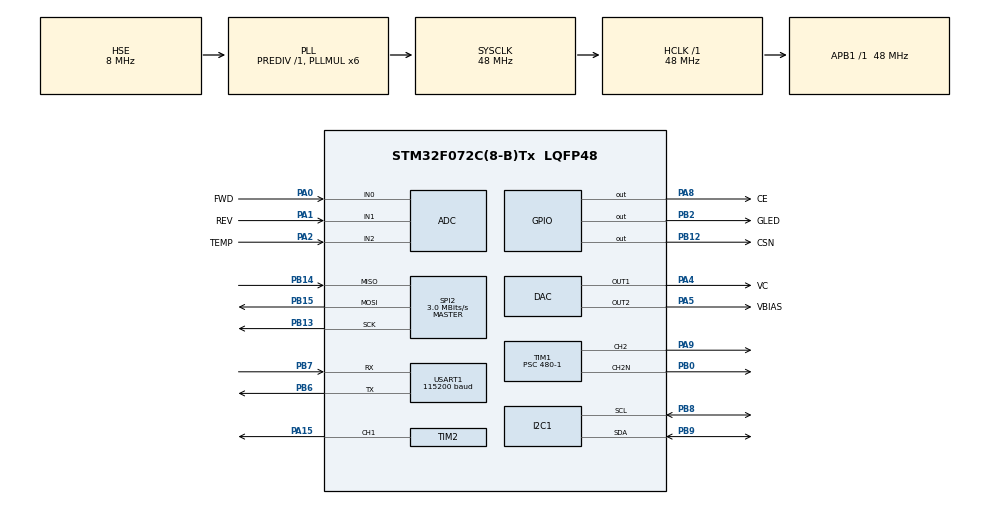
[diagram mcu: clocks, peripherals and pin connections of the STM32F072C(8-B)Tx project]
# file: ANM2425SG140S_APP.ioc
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ADC.ContinuousConvMode=ENABLE
ADC.DMAContinuousRequests=ENABLE
ADC.SamplingTime=ADC_SAMPLETIME_239CYCLES_5
Dma.ADC.1.Direction=DMA_PERIPH_TO_MEMORY
Dma.ADC.1.Instance=DMA1_Channel1
Dma.ADC.1.MemDataAlignment=DMA_MDATAALIGN_WORD
Dma.ADC.1.MemInc=DMA_MINC_ENABLE
Dma.ADC.1.Mode=DMA_CIRCULAR
Dma.ADC.1.PeriphDataAlignment=DMA_PDATAALIGN_WORD
Dma.ADC.1.PeriphInc=DMA_PINC_DISABLE
Dma.ADC.1.Priority=DMA_PRIORITY_LOW
Dma.Request0=USART1_RX
Dma.Request1=ADC
Dma.USART1_RX.0.Direction=DMA_PERIPH_TO_MEMORY
Dma.USART1_RX.0.Instance=DMA1_Channel3
Dma.USART1_RX.0.MemDataAlignment=DMA_MDATAALIGN_BYTE
Dma.USART1_RX.0.MemInc=DMA_MINC_ENABLE
Dma.USART1_RX.0.Mode=DMA_NORMAL
Dma.USART1_RX.0.PeriphDataAlignment=DMA_PDATAALIGN_BYTE
Dma.USART1_RX.0.PeriphInc=DMA_PINC_DISABLE
Dma.USART1_RX.0.Priority=DMA_PRIORITY_LOW
FREERTOS.INCLUDE_eTaskGetState=1
FREERTOS.INCLUDE_uxTaskGetStackHighWaterMark=1
FREERTOS.INCLUDE_xTaskGetCurrentTaskHandle=1
FREERTOS.Tasks01=defaultTask,0,128,StartDefaultTask,Default,NULL
FREERTOS.configMAX_TASK_NAME_LEN=24
FREERTOS.configTOTAL_HEAP_SIZE=8192
I2C1.I2C_Fall_Time=100
I2C1.I2C_Rise_Time=100
I2C1.Timing=0x00201D2B
Mcu.Family=STM32F0
Mcu.Name=STM32F072C(8-B)Tx
Mcu.Package=LQFP48
NVIC.DMA1_Channel1_IRQn=true\:3\:0\:false\:false\:true\:true\:false
NVIC.DMA1_Channel2_3_IRQn=true\:3\:0\:false\:false\:true\:true\:false
NVIC.TIM16_IRQn=true\:3\:0\:false\:false\:true\:true\:true
NVIC.TIM17_IRQn=true\:0\:0\:false\:false\:true\:false\:false
NVIC.TimeBase=TIM17_IRQn
NVIC.TimeBaseIP=TIM17
NVIC.USART1_IRQn=true\:3\:0\:false\:false\:true\:true\:true
PA0.GPIO_Label=FWD
PA0.Mode=IN0
PA0.Signal=ADC_IN0
PA1.GPIO_Label=REV
PA1.Mode=IN1
PA1.Signal=ADC_IN1
PA13.Mode=Serial_Wire
PA13.Signal=SYS_SWDIO
PA14.Mode=Serial_Wire
PA14.Signal=SYS_SWCLK
PA15.Signal=S_TIM2_CH1_ETR
PA2.GPIO_Label=TEMP
PA2.Mode=IN2
PA2.Signal=ADC_IN2
PA4.GPIO_Label=VC
PA4.Signal=COMP_DAC1_group
PA5.GPIO_Label=VBIAS
PA5.Signal=COMP_DAC2_group
PA8.GPIO_Label=CE
PA8.Signal=GPIO_Output
PA9.Signal=S_TIM1_CH2
PB0.Mode=PWM Generation2 CH2 CH2N
PB0.Signal=TIM1_CH2N
PB12.GPIO_Label=CSN
PB12.Signal=GPIO_Output
PB13.Mode=Full_Duplex_Master
PB13.Signal=SPI2_SCK
PB14.Mode=Full_Duplex_Master
PB14.Signal=SPI2_MISO
PB15.Mode=Full_Duplex_Master
PB15.Signal=SPI2_MOSI
PB2.GPIO_Label=GLED
PB2.Signal=GPIO_Output
PB6.Mode=Asynchronous
PB6.Signal=USART1_TX
PB7.Mode=Asynchronous
PB7.Signal=USART1_RX
PB8.Mode=I2C
PB8.Signal=I2C1_SCL
PB9.Mode=I2C
PB9.Signal=I2C1_SDA
PF0-OSC_IN.Mode=HSE-External-Oscillator
PF0-OSC_IN.Signal=RCC_OSC_IN
PF1-OSC_OUT.Mode=HSE-External-Oscillator
PF1-OSC_OUT.Signal=RCC_OSC_OUT
ProjectManager.HeapSize=0x200
ProjectManager.StackSize=0x400
ProjectManager.TargetToolchain=MDK-ARM V5
RCC.AHBFreq_Value=48000000
RCC.APB1Freq_Value=48000000
RCC.APB1TimFreq_Value=48000000
RCC.HCLKFreq_Value=48000000
RCC.PLLMUL=RCC_PLL_MUL6
RCC.PLLSourceVirtual=RCC_PLLSOURCE_HSE
RCC.SYSCLKFreq_VALUE=48000000
RCC.SYSCLKSource=RCC_SYSCLKSOURCE_PLLCLK
SH.COMP_DAC1_group.0=DAC_OUT1,DAC_OUT1
SH.COMP_DAC2_group.0=DAC_OUT2,DAC_OUT2
SH.S_TIM1_CH2.0=TIM1_CH2,PWM Generation2 CH2 CH2N
SH.S_TIM2_CH1_ETR.0=TIM2_CH1,PWM Generation1 CH1
SPI2.BaudRatePrescaler=SPI_BAUDRATEPRESCALER_16
SPI2.CLKPolarity=SPI_POLARITY_LOW
SPI2.CalculateBaudRate=3.0 MBits/s
SPI2.DataSize=SPI_DATASIZE_8BIT
SPI2.Direction=SPI_DIRECTION_2LINES
SPI2.Mode=SPI_MODE_MASTER
SPI2.VirtualType=VM_MASTER
TIM1.Channel-PWM\ Generation2\ CH2\ CH2N=TIM_CHANNEL_2
TIM1.Period=100-1
TIM1.Prescaler=480-1
TIM16.Period=1000
TIM16.Prescaler=4800-1
TIM2.Channel-PWM\ Generation1\ CH1=TIM_CHANNEL_1
TIM2.Period=100-1
TIM2.Prescaler=48-1
USART1.BaudRate=115200
USART1.VirtualMode-Asynchronous=VM_ASYNC
VP_ADC_Vref_Input.Mode=IN-Vrefint
VP_FREERTOS_VS_ENABLE.Mode=Enabled
VP_SYS_VS_tim17.Mode=TIM17
VP_TIM16_VS_ClockSourceINT.Mode=Enable_Timer
VP_TIM1_VS_ClockSourceINT.Mode=Internal
VP_TIM2_VS_ClockSourceINT.Mode=Internal
board=custom

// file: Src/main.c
/* USER CODE BEGIN Header */
/**
  ******************************************************************************
  * @file           : main.c
  * @brief          : Main program body
  ******************************************************************************
  * This notice applies to any and all portions of this file
  * that are not between comment pairs USER CODE BEGIN and
  * USER CODE END. Other portions of this file, whether
  * inserted by the user or by software development tools
  * are owned by their respective copyright owners.
  *
  * Copyright (c) 2019 STMicroelectronics International N.V.
  * All rights reserved.
  *
  * Redistribution and use in source and binary forms, with or without
  * modification, are permitted, provided that the following conditions are met:
  *
  * 1. Redistribution of source code must retain the above copyright notice,
  *    this list of conditions and the following disclaimer.
  * 2. Redistributions in binary form must reproduce the above copyright notice,
  *    this list of conditions and the following disclaimer in the documentation
  *    and/or other materials provided with the distribution.
  * 3. Neither the name of STMicroelectronics nor the names of other
  *    contributors to this software may be used to endorse or promote products
  *    derived from this software without specific written permission.
  * 4. This software, including modifications and/or derivative works of this
  *    software, must execute solely and exclusively on microcontroller or
  *    microprocessor devices manufactured by or for STMicroelectronics.
  * 5. Redistribution and use of this software other than as permitted under
  *    this license is void and will automatically terminate your rights under
  *    this license.
  *
  * THIS SOFTWARE IS PROVIDED BY STMICROELECTRONICS AND CONTRIBUTORS "AS IS"
  * AND ANY EXPRESS, IMPLIED OR STATUTORY WARRANTIES, INCLUDING, BUT NOT
  * LIMITED TO, THE IMPLIED WARRANTIES OF MERCHANTABILITY, FITNESS FOR A
  * PARTICULAR PURPOSE AND NON-INFRINGEMENT OF THIRD PARTY INTELLECTUAL PROPERTY
  * RIGHTS ARE DISCLAIMED TO THE FULLEST EXTENT PERMITTED BY LAW. IN NO EVENT
  * SHALL STMICROELECTRONICS OR CONTRIBUTORS BE LIABLE FOR ANY DIRECT, INDIRECT,
  * INCIDENTAL, SPECIAL, EXEMPLARY, OR CONSEQUENTIAL DAMAGES (INCLUDING, BUT NOT
  * LIMITED TO, PROCUREMENT OF SUBSTITUTE GOODS OR SERVICES; LOSS OF USE, DATA,
  * OR PROFITS; OR BUSINESS INTERRUPTION) HOWEVER CAUSED AND ON ANY THEORY OF
  * LIABILITY, WHETHER IN CONTRACT, STRICT LIABILITY, OR TORT (INCLUDING
  * NEGLIGENCE OR OTHERWISE) ARISING IN ANY WAY OUT OF THE USE OF THIS SOFTWARE,
  * EVEN IF ADVISED OF THE POSSIBILITY OF SUCH DAMAGE.
  *
  ******************************************************************************
  */
/* USER CODE END Header */

#include "main.h"
#include "cmsis_os.h"
#include "adc.h"
#include "dac.h"
#include "dma.h"
#include "i2c.h"
#include "spi.h"
#include "tim.h"
#include "usart.h"
#include "gpio.h"

/* USER CODE BEGIN Includes */
#include "nrf24l01.h"
#include "remap_vtor.h"
#include "algorithm.h"

/* USER CODE END Includes */

void SystemClock_Config(void);
void MX_FREERTOS_Init(void);
/* USER CODE BEGIN PFP */
 void Initial(void)
{
	 uint16_t vc	= 0; 		 //vcontrol volts, max 3.3V
	 uint16_t vp	= 850; 		 //vbias+ volts, 0.75V

	 /***************************uart1 setup******************************/
		 __HAL_UART_ENABLE_IT(&huart1,UART_IT_IDLE);
		 HAL_UART_Receive_DMA(&huart1,(uint8_t *)rx_buffer232,BUFFER_SIZE);
	 /***************************end uart1 setup**************************/
	 //HAL_TIM_Base_Start_IT(&htim1);  //10khz,100us,Timer for volcano pwm

	 /***********************ADC sampling start*************************/
	 HAL_ADC_Start_DMA(&hadc,(uint32_t *)dma_adc_buff,ADC_LEN);//adc dma start continue conversation

	 /******************set att's control voltage*******************/
	 HAL_DAC_SetValue(&hdac,DAC_CHANNEL_1,DAC_ALIGN_12B_R,vp*4095/3300);//set bias
	 HAL_DAC_Start(&hdac,DAC_CHANNEL_1);
	 HAL_DAC_SetValue(&hdac,DAC_CHANNEL_2,DAC_ALIGN_12B_R,vc*4095/3300);//set vc
	 HAL_DAC_Start(&hdac,DAC_CHANNEL_2);
	 /******************end set vgs************************/

	 /***********************nRF2401P Switch Steup*************************/
	 HAL_TIMEx_PWMN_Start(&htim1, TIM_CHANNEL_2);
	 HAL_TIM_PWM_Start(&htim1, TIM_CHANNEL_2);
	 __HAL_TIM_SET_COMPARE(&htim1,TIM_CHANNEL_2,100);//占空比为0时，开关开通；占空比为100时，开关关断
	 HAL_Delay(200);

	 Initial_nRF24L01P();

	 /***********************FAN CONTROL PWM Steup*************************/
	 /***********************10KHz,20% duty default*************************/
	 HAL_TIM_PWM_Start(&htim2, TIM_CHANNEL_1);
	 __HAL_TIM_SET_COMPARE(&htim2,TIM_CHANNEL_1,100-20-1);

  //initial Power Coefficient
	 GetPowerCaliFlag();
	 HAL_Delay(50);
	 Initial_PowerCoeff();
	 HAL_Delay(50);
	 Initial_FWDCoeff();
	 HAL_Delay(50);
	 Initial_RevCoeff();

}

/* USER CODE END PFP */

int main(void)
{

  /* MCU Configuration--------------------------------------------------------*/

  /* Reset of all peripherals, Initializes the Flash interface and the Systick. */
  HAL_Init();

  /* USER CODE BEGIN Init */
	Remap_VectorTable();
  __enable_irq();

  /* USER CODE END Init */

  /* Configure the system clock */
  SystemClock_Config();

  /* Initialize all configured peripherals */
  MX_GPIO_Init();
  MX_DMA_Init();
  MX_DAC_Init();
  MX_ADC_Init();
  MX_SPI2_Init();
  MX_I2C1_Init();
  MX_USART1_UART_Init();
  MX_TIM1_Init();
  MX_TIM2_Init();
  MX_TIM16_Init();
  /* USER CODE BEGIN 2 */
  Initial();
  /* USER CODE END 2 */

  /* Call init function for freertos objects (in freertos.c) */
  MX_FREERTOS_Init();

  /* Start scheduler */
  osKernelStart();

  /* We should never get here as control is now taken by the scheduler */

  /* Infinite loop */
  while (1)
  {

  }
}

void SystemClock_Config(void)
{
  RCC_OscInitTypeDef RCC_OscInitStruct = {0};
  RCC_ClkInitTypeDef RCC_ClkInitStruct = {0};
  RCC_PeriphCLKInitTypeDef PeriphClkInit = {0};

  /**Initializes the CPU, AHB and APB busses clocks
  */
  RCC_OscInitStruct.OscillatorType = RCC_OSCILLATORTYPE_HSI|RCC_OSCILLATORTYPE_HSI14
                              |RCC_OSCILLATORTYPE_HSE;
  RCC_OscInitStruct.HSEState = RCC_HSE_ON;
  RCC_OscInitStruct.HSIState = RCC_HSI_ON;
  RCC_OscInitStruct.HSI14State = RCC_HSI14_ON;
  RCC_OscInitStruct.HSICalibrationValue = RCC_HSICALIBRATION_DEFAULT;
  RCC_OscInitStruct.HSI14CalibrationValue = 16;
  RCC_OscInitStruct.PLL.PLLState = RCC_PLL_ON;
  RCC_OscInitStruct.PLL.PLLSource = RCC_PLLSOURCE_HSE;
  RCC_OscInitStruct.PLL.PLLMUL = RCC_PLL_MUL6;
  RCC_OscInitStruct.PLL.PREDIV = RCC_PREDIV_DIV1;
  if (HAL_RCC_OscConfig(&RCC_OscInitStruct) != HAL_OK)
  {
    Error_Handler();
  }
  /**Initializes the CPU, AHB and APB busses clocks
  */
  RCC_ClkInitStruct.ClockType = RCC_CLOCKTYPE_HCLK|RCC_CLOCKTYPE_SYSCLK
                              |RCC_CLOCKTYPE_PCLK1;
  RCC_ClkInitStruct.SYSCLKSource = RCC_SYSCLKSOURCE_PLLCLK;
  RCC_ClkInitStruct.AHBCLKDivider = RCC_SYSCLK_DIV1;
  RCC_ClkInitStruct.APB1CLKDivider = RCC_HCLK_DIV1;

  if (HAL_RCC_ClockConfig(&RCC_ClkInitStruct, FLASH_LATENCY_1) != HAL_OK)
  {
    Error_Handler();
  }
  PeriphClkInit.PeriphClockSelection = RCC_PERIPHCLK_USART1|RCC_PERIPHCLK_I2C1;
  PeriphClkInit.Usart1ClockSelection = RCC_USART1CLKSOURCE_PCLK1;
  PeriphClkInit.I2c1ClockSelection = RCC_I2C1CLKSOURCE_HSI;
  if (HAL_RCCEx_PeriphCLKConfig(&PeriphClkInit) != HAL_OK)
  {
    Error_Handler();
  }
}

void HAL_TIM_PeriodElapsedCallback(TIM_HandleTypeDef *htim)
{
  if (htim->Instance == TIM17) {
    HAL_IncTick();
  }
  /* USER CODE BEGIN Callback 1 */
  if (htim->Instance == TIM16) {//1000ms timer
		HeatingTimer = (HeatingTimer>0)?(--HeatingTimer):(HeatingTimer);
  }

  /* USER CODE END Callback 1 */
}

void Error_Handler(void)
{
}

/************************ (C) COPYRIGHT STMicroelectronics *****END OF FILE****/

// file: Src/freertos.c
/* USER CODE BEGIN Header */
/**
  ******************************************************************************
  * File Name          : freertos.c
  * Description        : Code for freertos applications
  ******************************************************************************
  * This notice applies to any and all portions of this file
  * that are not between comment pairs USER CODE BEGIN and
  * USER CODE END. Other portions of this file, whether
  * inserted by the user or by software development tools
  * are owned by their respective copyright owners.
  *
  * Copyright (c) 2019 STMicroelectronics International N.V.
  * All rights reserved.
  *
  * Redistribution and use in source and binary forms, with or without
  * modification, are permitted, provided that the following conditions are met:
  *
  * 1. Redistribution of source code must retain the above copyright notice,
  *    this list of conditions and the following disclaimer.
  * 2. Redistributions in binary form must reproduce the above copyright notice,
  *    this list of conditions and the following disclaimer in the documentation
  *    and/or other materials provided with the distribution.
  * 3. Neither the name of STMicroelectronics nor the names of other
  *    contributors to this software may be used to endorse or promote products
  *    derived from this software without specific written permission.
  * 4. This software, including modifications and/or derivative works of this
  *    software, must execute solely and exclusively on microcontroller or
  *    microprocessor devices manufactured by or for STMicroelectronics.
  * 5. Redistribution and use of this software other than as permitted under
  *    this license is void and will automatically terminate your rights under
  *    this license.
  *
  * THIS SOFTWARE IS PROVIDED BY STMICROELECTRONICS AND CONTRIBUTORS "AS IS"
  * AND ANY EXPRESS, IMPLIED OR STATUTORY WARRANTIES, INCLUDING, BUT NOT
  * LIMITED TO, THE IMPLIED WARRANTIES OF MERCHANTABILITY, FITNESS FOR A
  * PARTICULAR PURPOSE AND NON-INFRINGEMENT OF THIRD PARTY INTELLECTUAL PROPERTY
  * RIGHTS ARE DISCLAIMED TO THE FULLEST EXTENT PERMITTED BY LAW. IN NO EVENT
  * SHALL STMICROELECTRONICS OR CONTRIBUTORS BE LIABLE FOR ANY DIRECT, INDIRECT,
  * INCIDENTAL, SPECIAL, EXEMPLARY, OR CONSEQUENTIAL DAMAGES (INCLUDING, BUT NOT
  * LIMITED TO, PROCUREMENT OF SUBSTITUTE GOODS OR SERVICES; LOSS OF USE, DATA,
  * OR PROFITS; OR BUSINESS INTERRUPTION) HOWEVER CAUSED AND ON ANY THEORY OF
  * LIABILITY, WHETHER IN CONTRACT, STRICT LIABILITY, OR TORT (INCLUDING
  * NEGLIGENCE OR OTHERWISE) ARISING IN ANY WAY OUT OF THE USE OF THIS SOFTWARE,
  * EVEN IF ADVISED OF THE POSSIBILITY OF SUCH DAMAGE.
  *
  ******************************************************************************
  */
/* USER CODE END Header */

#include "FreeRTOS.h"
#include "task.h"
#include "main.h"
#include "cmsis_os.h"

/* USER CODE BEGIN Includes */
#include "nrf24l01.h"
#include "rs232.h"
#include "algorithm.h"
#include "adc.h"
/* USER CODE END Includes */

/* USER CODE BEGIN Variables */
/* USER CODE BEGIN PTD */
osSemaphoreId StartHeatTaskSemHandle;
osSemaphoreId StopHeatTaskSemHandle;

osThreadId HeatTaskHandle;
osThreadId StaMachineTaskHandle;
/* USER CODE END Variables */
osThreadId defaultTaskHandle;

/* USER CODE BEGIN FunctionPrototypes */
void StateShift(void);
void StartStaMachine(void const * argument);
void CreateHeatTask(void);
void DeleteHeatTask(void);

/* USER CODE END FunctionPrototypes */

void StartDefaultTask(void const * argument);

void MX_FREERTOS_Init(void); /* (MISRA C 2004 rule 8.1) */

void MX_FREERTOS_Init(void) {

  /* USER CODE BEGIN RTOS_SEMAPHORES */
  /* add semaphores, ... */
  osSemaphoreDef(StartHeatTaskSem);
  StartHeatTaskSemHandle = osSemaphoreCreate(osSemaphore(StartHeatTaskSem), 1);

  osSemaphoreDef(StopHeatTaskSem);
  StopHeatTaskSemHandle = osSemaphoreCreate(osSemaphore(StopHeatTaskSem), 1);
  /* USER CODE END RTOS_SEMAPHORES */

  /* Create the thread(s) */
  /* definition and creation of defaultTask */
  osThreadDef(defaultTask, StartDefaultTask, osPriorityNormal, 0, 128);
  defaultTaskHandle = osThreadCreate(osThread(defaultTask), NULL);

}

void StartDefaultTask(void const * argument)
{

  /* USER CODE BEGIN StartDefaultTask */
	osThreadDef(StaMachineTask, StartStaMachine, osPriorityNormal, 0, 128);
	StaMachineTaskHandle = osThreadCreate(osThread(StaMachineTask), NULL);
	int i=0;
  /* Infinite loop */
  for(;;)
  {
    osDelay(5);
		/* 200ms loop
		*/
		if(i==40){
			i=0;
			HAL_GPIO_TogglePin(GLED_GPIO_Port, GLED_Pin);
		  if(Work_State == Idling)
				PowerCompensation();
			}

		StateShift();
		i++;
  }
  /* USER CODE END StartDefaultTask */
}

/* USER CODE BEGIN Application */
void StartStaMachine(void const * argument)
{
  /* USER CODE BEGIN StartStaMachine */
  /* Infinite loop */
  for(;;)
  {

		osSemaphoreWait(StartHeatTaskSemHandle,5);
		osSemaphoreWait(StopHeatTaskSemHandle,5);
		/* Infinite loop */
		for(;;)
		{
  		if(osSemaphoreWait(StartHeatTaskSemHandle,5) == osOK){
  			CreateHeatTask();
  		}
  		else if(osSemaphoreWait(StopHeatTaskSemHandle,5) == osOK){
  			DeleteHeatTask();
  		}
		}
  }
}

void StartHeatTask(void const * argument)
{
  SetRFPower(ChState.freq, PowerStage);//initial heating power
	ChState.power = PowerStage;
  for(;;)
	{
		PowerCompensation();
	  osDelay(200);
		//portYIELD();
	}
}

void CreateHeatTask()
{
  if(HeatTaskHandle == NULL){
		osThreadDef(HeatTask, StartHeatTask, osPriorityNormal, 0, 128);
		HeatTaskHandle = osThreadCreate(osThread(HeatTask), NULL);
		}
	else if(osThreadGetState(HeatTaskHandle) == osThreadDeleted){
		osThreadDef(HeatTask, StartHeatTask, osPriorityNormal, 0, 128);
		HeatTaskHandle = osThreadCreate(osThread(HeatTask), NULL);
	}
}

void DeleteHeatTask()
{
	if(osThreadGetState(HeatTaskHandle) != osThreadDeleted){
		osThreadTerminate(HeatTaskHandle);
		HeatTaskHandle = NULL;
	}
}

	void StateShift()
	{
		if(Work_State == PreIdling){
			PreidleState();
		}
		else if(Work_State == PreHeating){
			PreHeatState();
		}
		else if(Work_State == Idling){
			AdcSampling();
		}
		else if(Work_State == Heating){
			AdcSampling();
		}
		else if(Work_State == PrePausing){
			PrePauseState();
		}
		else if(Work_State == Pausing){
		}
		ResetUART();
//		FanControl();
	}
/* USER CODE END Application */

/************************ (C) COPYRIGHT STMicroelectronics *****END OF FILE****/
